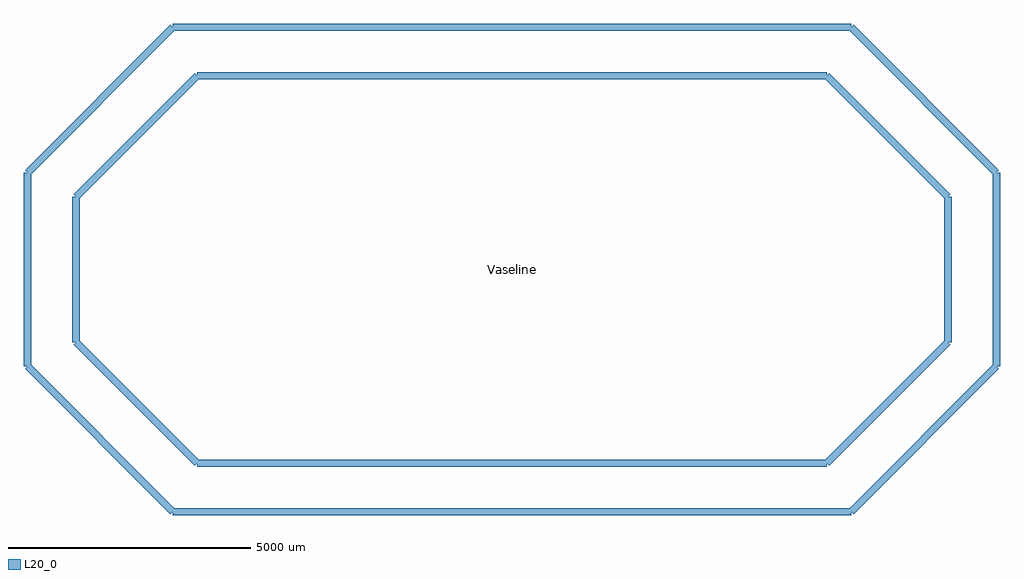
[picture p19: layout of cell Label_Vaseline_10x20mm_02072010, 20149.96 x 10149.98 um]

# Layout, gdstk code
import gdstk
lib = gdstk.Library(unit=1e-6, precision=1e-09)
L20_0 = (20, 0)

label_vaseline_10x20mm_0 = lib.new_cell('Label_Vaseline_10x20mm_02072010')
label_vaseline_10x20mm_0.add(gdstk.FlexPath([(-10160,-2080.26),(-7160.26,-5080)], 149.998, ends="flush", simple_path=True, layer=20, datatype=0))  # L20_0
label_vaseline_10x20mm_0.add(gdstk.FlexPath([(6840.22,-5080),(9839.96,-2080.26)], 149.998, ends="flush", simple_path=True, layer=20, datatype=0))  # L20_0
label_vaseline_10x20mm_0.add(gdstk.FlexPath([(9839.96,1920.24),(6840.22,4919.98)], 149.998, ends="flush", simple_path=True, layer=20, datatype=0))  # L20_0
label_vaseline_10x20mm_0.add(gdstk.FlexPath([(-10160,1920.24),(-7160.26,4919.98)], 149.998, ends="flush", simple_path=True, layer=20, datatype=0))  # L20_0
label_vaseline_10x20mm_0.add(gdstk.FlexPath([(-7160.26,4919.98),(6840.22,4919.98)], 149.998, ends="flush", simple_path=True, layer=20, datatype=0))  # L20_0
label_vaseline_10x20mm_0.add(gdstk.FlexPath([(6840.22,-5080),(-7160.26,-5080)], 149.998, ends="flush", simple_path=True, layer=20, datatype=0))  # L20_0
label_vaseline_10x20mm_0.add(gdstk.FlexPath([(9839.96,1920.24),(9839.96,-2080.26)], 149.998, ends="flush", simple_path=True, layer=20, datatype=0))  # L20_0
label_vaseline_10x20mm_0.add(gdstk.FlexPath([(-10160,1920.24),(-10160,-2080.26)], 149.998, ends="flush", simple_path=True, layer=20, datatype=0))  # L20_0
label_vaseline_10x20mm_0.add(gdstk.FlexPath([(-6159.5,-4079.24),(5839.46,-4079.24)], 149.998, ends="flush", simple_path=True, layer=20, datatype=0))  # L20_0
label_vaseline_10x20mm_0.add(gdstk.FlexPath([(-9159.24,919.48),(-9159.24,-1079.5)], 149.998, ends="flush", simple_path=True, layer=20, datatype=0))  # L20_0
label_vaseline_10x20mm_0.add(gdstk.FlexPath([(6339.84,-4079.24),(5839.46,-4079.24)], 149.998, ends="flush", simple_path=True, layer=20, datatype=0))  # L20_0
label_vaseline_10x20mm_0.add(gdstk.FlexPath([(8839.2,-1579.88),(6339.84,-4079.24)], 149.998, ends="flush", simple_path=True, layer=20, datatype=0))  # L20_0
label_vaseline_10x20mm_0.add(gdstk.FlexPath([(8839.2,1419.86),(8839.2,-1579.88)], 149.998, ends="flush", simple_path=True, layer=20, datatype=0))  # L20_0
label_vaseline_10x20mm_0.add(gdstk.FlexPath([(-6659.88,3919.22),(-6159.5,3919.22)], 149.998, ends="flush", simple_path=True, layer=20, datatype=0))  # L20_0
label_vaseline_10x20mm_0.add(gdstk.FlexPath([(-9159.24,1419.86),(-6659.88,3919.22)], 149.998, ends="flush", simple_path=True, layer=20, datatype=0))  # L20_0
label_vaseline_10x20mm_0.add(gdstk.FlexPath([(-9159.24,919.48),(-9159.24,1419.86)], 149.998, ends="flush", simple_path=True, layer=20, datatype=0))  # L20_0
label_vaseline_10x20mm_0.add(gdstk.FlexPath([(8839.2,1419.86),(6339.84,3919.22)], 149.998, ends="flush", simple_path=True, layer=20, datatype=0))  # L20_0
label_vaseline_10x20mm_0.add(gdstk.FlexPath([(6339.84,3919.22),(-6159.5,3919.22)], 149.998, ends="flush", simple_path=True, layer=20, datatype=0))  # L20_0
label_vaseline_10x20mm_0.add(gdstk.FlexPath([(-6659.88,-4079.24),(-6159.5,-4079.24)], 149.998, ends="flush", simple_path=True, layer=20, datatype=0))  # L20_0
label_vaseline_10x20mm_0.add(gdstk.FlexPath([(-9159.24,-1579.88),(-6659.88,-4079.24)], 149.998, ends="flush", simple_path=True, layer=20, datatype=0))  # L20_0
label_vaseline_10x20mm_0.add(gdstk.FlexPath([(-9159.24,-1079.5),(-9159.24,-1579.88)], 149.998, ends="flush", simple_path=True, layer=20, datatype=0))  # L20_0
label_vaseline_10x20mm_0.add(gdstk.Label('Vaseline', (-160.02,-78.74), layer=9, texttype=0))
label_vaseline_10x20mm_0.add(gdstk.Label('type', (0,-7620), layer=9, texttype=0))
label_vaseline_10x20mm_0.add(gdstk.Label('devicename', (0,6858), layer=9, texttype=0))

lib.write_gds('Label_Vaseline_10x20mm_02072010.gds')
